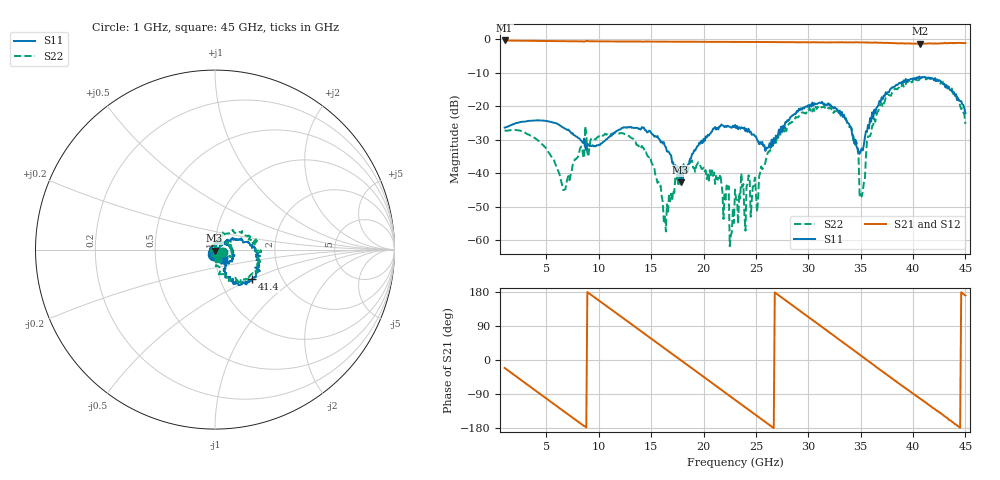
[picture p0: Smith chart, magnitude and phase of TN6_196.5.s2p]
!Keysight Technologies,N5247B,MY61255062,A.19.80.06
!Date: Monday, May 18, 2026 12:25:57
!Correction: S11(Cdelta 2-Port  )
!S21(Cdelta 2-Port  )
!S12(Cdelta 2-Port  )
!S22(Cdelta 2-Port  )
!S2P File: Measurements: S11, S21, S12, S22:
# Hz S  dB  R 50
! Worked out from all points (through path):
!   441 points, 1 GHz to 45 GHz, reference 50 ohm
!   highest |S21| = -0.41 dB at 1 GHz (marker M1); lowest = -1.4 dB at 40.7 GHz (marker M2)
!   group delay of S21, straight-line fit = 56.1 ps
!   lowest |S11| = -42.7 dB at 17.8 GHz (marker M3), VSWR 1.01, Z = 49.7 - j0.676 ohm
!   |S11| at or under -10 dB: start of sweep to end of sweep
!   |S22| runs from -61.8 to -11.3 dB; largest |S21 - S12| = 0.014
!   S11 on the Smith chart (normalised r, x): 1 GHz: 1.09, -0.03; 41.4 GHz: 1.42, -0.50; 45 GHz: 1.10, -0.13
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1e9  -26.40 -17.8  -0.41 -21.0  -0.41 -21.0  -27.17 -18.3
4.6e9  -24.33 -100.5  -0.57 -93.9  -0.57 -93.9  -31.46 -101.7
6.7e9  -26.59 -134.3  -0.61 -136.2  -0.61 -136.2  -44.92 -73.8
8.4e9  -30.67 -138.6  -0.66 -170.7  -0.66 -170.7  -32.18 -29.6
1.24e10  -26.26 -114.9  -0.74 108.9  -0.74 108.9  -28.21 -120.6
1.57e10  -29.70 -148.1  -0.76 42.2  -0.76 42.2  -42.55 -178.4
1.64e10  -32.23 -151.6  -0.78 28.1  -0.78 28.1  -57.35 -162.7
1.78e10  -42.75 -111.1  -0.81 -0.0  -0.80 -0.1  -42.28 -80.5
2.14e10  -26.93 -81.8  -0.81 -72.7  -0.81 -72.7  -41.38 -111.9
2.27e10  -26.40 -97.9  -0.82 -98.8  -0.83 -98.9  -57.49 65.4
2.3e10  -25.62 -106.5  -0.83 -105.0  -0.83 -105.0  -44.86 -63.7
2.52e10  -30.44 -168.4  -0.86 -149.4  -0.86 -149.5  -48.26 73.2
2.67e10  -29.53 89.3  -0.89 -179.7  -0.89 -179.8  -31.17 84.2
3.04e10  -18.90 -16.4  -0.96 105.6  -1.00 105.6  -21.61 11.6
3.35e10  -23.76 -71.0  -0.99 42.9  -0.98 42.9  -23.32 -51.1
3.46e10  -32.03 -48.8  -0.93 20.4  -0.99 20.4  -30.71 -73.4
3.51e10  -32.63 3.9  -0.99 10.2  -1.02 10.1  -46.90 165.6
3.58e10  -26.63 38.6  -1.05 -4.1  -1.04 -4.1  -29.01 87.2
3.77e10  -15.86 14.2  -1.15 -42.9  -1.17 -43.2  -16.69 46.3
4.07e10  -11.63 -29.8  -1.41 -102.5  -1.33 -102.5  -11.65 -14.9
4.14e10  -11.54 -38.4  -1.32 -116.4  -1.31 -116.1  -11.63 -25.2
4.5e10  -22.10 -47.7  -1.14 170.4  -1.14 170.2  -25.27 -72.7
